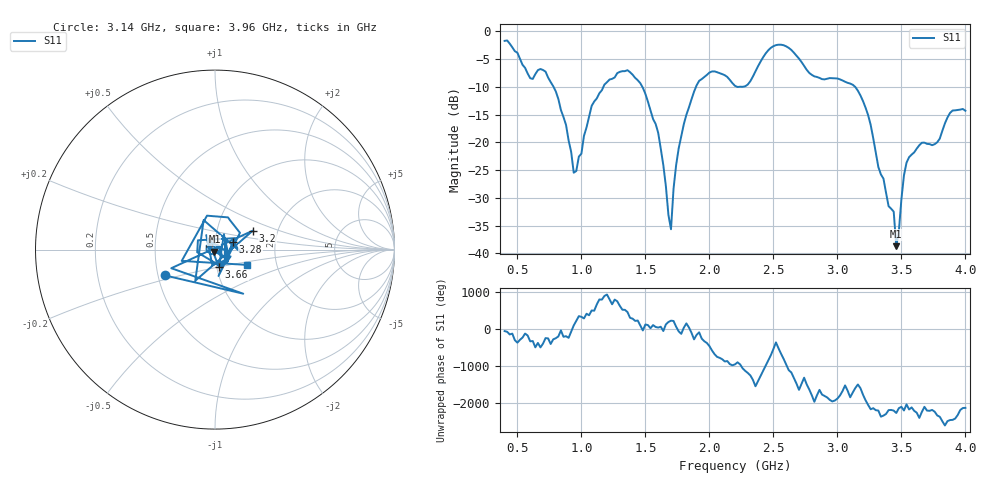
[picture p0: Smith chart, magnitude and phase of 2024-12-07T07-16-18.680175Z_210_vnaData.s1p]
!Created with skrf (http://scikit-rf.org).
# Hz S RI R 50.0
!freq ReS11 ImS11
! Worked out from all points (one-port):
!   181 points, 400 MHz to 4 GHz, reference 50 ohm
!   lowest |S11| = -38.7 dB at 3.46 GHz (marker M1), VSWR 1.02, Z = 49.7 - j1.11 ohm
!   |S11| at or under -10 dB: 782.3 MHz to 1.172 GHz (389.6 MHz wide, 39.9 % of centre); 1.476 GHz to 1.895 GHz (419.1 MHz wide, 24.9 % of centre); 3.139 GHz to end of sweep (the widest 3 of 4)
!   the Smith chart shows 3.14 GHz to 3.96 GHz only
!   S11 on the Smith chart (normalised r, x): 3.14 GHz: 0.54, -0.17; 3.2 GHz: 1.49, +0.33; 3.28 GHz: 1.22, +0.10; 3.66 GHz: 1.03, -0.20; 3.96 GHz: 1.41, -0.25
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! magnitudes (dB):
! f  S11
! 400 MHz  -1.7
! 600 MHz  -8.4
! 720 MHz  -7.3
! 860 MHz  -15.4
! 960 MHz  -25.1
! 1.08 GHz  -13.4
! 1.3 GHz  -7.3
! 1.46 GHz  -9.3
! 1.58 GHz  -16.7
! 1.7 GHz  -35.6
! 1.72 GHz  -28.3
! 1.76 GHz  -21.1
! 1.92 GHz  -8.9
! 2.2 GHz  -9.8
! 2.5 GHz  -2.7
! 2.66 GHz  -3.8
! 3.1 GHz  -9.4
! 3.14 GHz  -10.0
! 3.2 GHz  -12.6
! 3.28 GHz  -19.3
! 3.4 GHz  -31.5
! 3.44 GHz  -32.5
! 3.46 GHz  -38.7
! 3.52 GHz  -25.9
! 3.56 GHz  -22.7
! 3.66 GHz  -20.1
! 3.96 GHz  -14.1
! 4 GHz  -14.3
